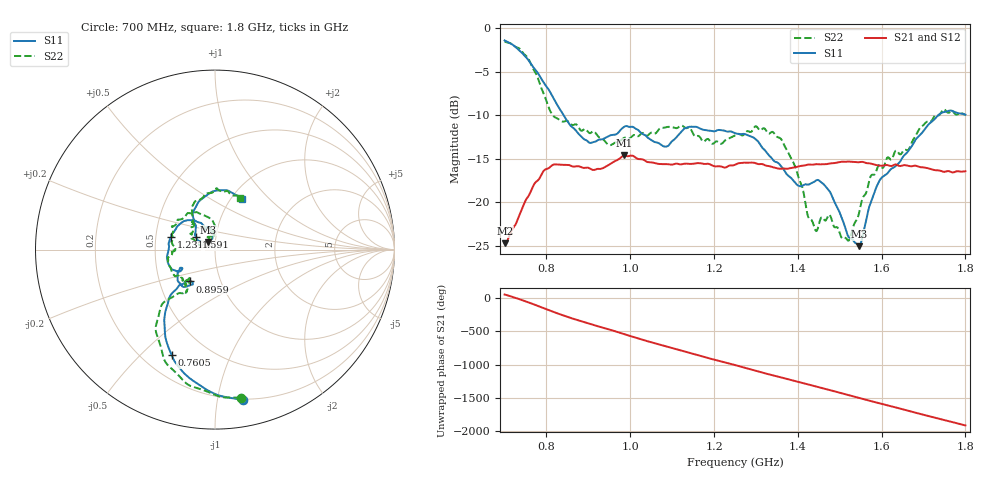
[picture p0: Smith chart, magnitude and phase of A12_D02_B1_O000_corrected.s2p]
! Created with skrf 1.9.0 (http://scikit-rf.org).
# Hz S RI R 50.0
!freq ReS11 ImS11 ReS21 ImS21 ReS12 ImS12 ReS22 ImS22
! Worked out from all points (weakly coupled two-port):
!   1601 points, 700 MHz to 1.8 GHz, reference 50 ohm
!   highest |S21| = -14.61 dB at 985.3 MHz (marker M1); lowest = -24.7 dB at 700.7 MHz (marker M2)
!   lowest |S11| = -25.0 dB at 1.547 GHz (marker M3), VSWR 1.12, Z = 46.3 + j3.97 ohm
!   |S11| at or under -10 dB: 840.7 MHz to 1.735 GHz (894.1 MHz wide, 69.4 % of centre)
!   |S22| runs from -24.4 to -1.5 dB; largest |S21 - S12| = 0.0035
!   S11 on the Smith chart (normalised r, x): 700 MHz: 0.20, -1.19; 760.5 MHz: 0.32, -0.62; 895.9 MHz: 0.71, -0.27; 1.231 GHz: 0.60, +0.09; 1.591 GHz: 0.80, +0.11; 1.8 GHz: 1.12, +0.70
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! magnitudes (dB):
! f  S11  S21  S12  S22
! 700 MHz  -1.4  -24.7  -24.5  -1.5
! 700.7 MHz  -1.4  -24.7  -24.4  -1.5
! 760.5 MHz  -3.9  -19.0  -18.8  -3.9
! 814.8 MHz  -7.9  -15.7  -15.8  -10.0
! 883.6 MHz  -12.5  -16.0  -15.9  -11.8
! 895.9 MHz  -12.9  -16.0  -16.1  -11.7
! 985.3 MHz  -11.3  -14.6  -14.7  -12.6
! 1.067 GHz  -13.2  -15.6  -15.5  -11.7
! 1.141 GHz  -11.3  -15.6  -15.5  -11.4
! 1.231 GHz  -11.9  -15.9  -15.8  -12.7
! 1.25 GHz  -12.1  -15.7  -15.6  -12.3
! 1.3 GHz  -12.8  -15.5  -15.5  -11.3
! 1.359 GHz  -15.8  -16.1  -16.1  -12.7
! 1.394 GHz  -17.8  -16.0  -15.9  -15.9
! 1.434 GHz  -17.8  -15.7  -15.6  -22.1
! 1.474 GHz  -18.6  -15.6  -15.6  -21.4
! 1.52 GHz  -23.9  -15.3  -15.3  -24.4
! 1.547 GHz  -25.0  -15.4  -15.4  -21.0
! 1.591 GHz  -17.9  -15.7  -15.7  -15.9
! 1.617 GHz  -16.5  -15.8  -15.7  -14.9
! 1.738 GHz  -9.9  -16.3  -16.4  -10.0
! 1.8 GHz  -9.9  -16.4  -16.4  -9.9
